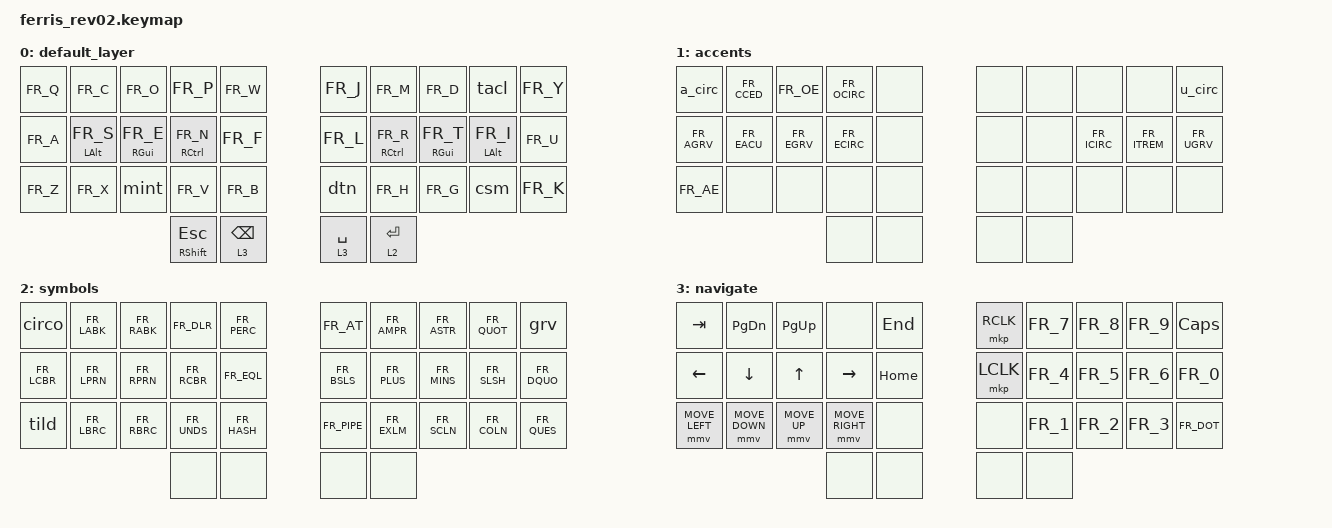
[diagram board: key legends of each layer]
#include <behaviors.dtsi>
#include <dt-bindings/zmk/keys.h>
#include <dt-bindings/zmk/pointing.h>
#include "french.h"

&lt {
    quick-tap-ms = <200>;
    flavor = "hold-preferred";
};

/ {
    behaviors {
        tacl: toaccentslayer {
            compatible = "zmk,behavior-mod-morph";
            #binding-cells = <0>;
            bindings = <&sl 1>, <&kp FR_EXLM>;
            mods = <(MOD_RSFT)>;
            keep-mods = <(MOD_RCTL|MOD_RALT|MOD_RGUI)>;
        };
        mint: minusinterrogation {
            compatible = "zmk,behavior-mod-morph";
            #binding-cells = <0>;
            bindings = <&kp FR_MINS>, <&kp FR_QUES>;
            mods = <(MOD_RSFT)>;
            keep-mods = <(MOD_RCTL|MOD_RALT|MOD_RGUI)>;
        };
        dtn: dotcoln {
            compatible = "zmk,behavior-mod-morph";
            #binding-cells = <0>;
            bindings = <&kp FR_DOT>, <&kp FR_COLN>;
            mods = <(MOD_RSFT)>;
            keep-mods = <(MOD_RCTL|MOD_RALT|MOD_RGUI)>;
        };
        csm: commasemicolon {
            compatible = "zmk,behavior-mod-morph";
            #binding-cells = <0>;
            bindings = <&kp FR_COMM>, <&kp FR_SCLN>;
            mods = <(MOD_RSFT)>;
            keep-mods = <(MOD_RCTL|MOD_RALT|MOD_RGUI)>;
        };

        hm: homerow_mods {
            compatible = "zmk,behavior-hold-tap";
            #binding-cells = <2>;

            tapping-term-ms = <220>;
            quick-tap-ms = <175>;
            require-prior-idle-ms = <150>;

            flavor = "tap-preferred";
            bindings = <&kp>, <&kp>;
        };
    };

    macros {
        a_circ: a_circ {
			compatible = "zmk,behavior-macro";
			#binding-cells = <0>;
			wait-ms = <0>;
			tap-ms = <0>;
			bindings= <&macro_tap &kp FR_CIRC &kp FR_A>;
		};
        u_circ: u_circ {
			compatible = "zmk,behavior-macro";
			#binding-cells = <0>;
			wait-ms = <0>;
			tap-ms = <0>;
			bindings = <&macro_tap &kp FR_CIRC &kp FR_U>;
		};
        tild: tilde {
			compatible = "zmk,behavior-macro";
			#binding-cells = <0>;
			wait-ms = <0>;
			tap-ms = <0>;
			bindings = <&macro_tap &kp FR_TILD &kp SPACE>;
		};
        circo: circonflexe {
			compatible = "zmk,behavior-macro";
			#binding-cells = <0>;
			wait-ms = <0>;
			tap-ms = <0>;
			bindings = <&macro_tap &kp FR_CIRC &kp SPACE>;
		};
        
        grv: grave {
        	compatible = "zmk,behavior-macro";
			#binding-cells = <0>;
			wait-ms = <0>;
			tap-ms = <0>;
			bindings = <&macro_tap &kp FR_GRV &kp SPACE>;
		};
    };

    

    keymap {    
        compatible = "zmk,keymap";
        default_layer {
            bindings = <
	        &kp FR_Q &kp FR_C      &kp FR_O      &kp FR_P       &kp FR_W            &kp FR_J &kp FR_M       &kp FR_D      &tacl         &kp FR_Y 
	        &kp FR_A &hm LALT FR_S &hm RGUI FR_E &hm RCTRL FR_N &kp FR_F            &kp FR_L &hm RCTRL FR_R &hm RGUI FR_T &hm LALT FR_I &kp FR_U
	        &kp FR_Z &kp FR_X      &mint         &kp FR_V       &kp FR_B            &dtn     &kp FR_H       &kp FR_G      &csm        &kp FR_K
                                           &mt RSHIFT ESCAPE   &lt 3 BACKSPACE    &lt 3 SPACE  &lt 2 ENTER
			>;
        };

        accents {

            bindings = <
            &a_circ      &kp FR_CCED &kp FR_OE    &kp FR_OCIRC    &none       &none &none &none        &none        &u_circ
            &kp FR_AGRV  &kp FR_EACU &kp FR_EGRV  &kp FR_ECIRC    &none       &none &none &kp FR_ICIRC &kp FR_ITREM &kp FR_UGRV
            &kp FR_AE    &none       &none        &none           &none       &none &none &none        &none        &none 
                                                  &none &none &none &none     
            >;
        };

        symbols {
            bindings = <
            &circo       &kp FR_LABK &kp FR_RABK &kp FR_DLR  &kp FR_PERC     &kp FR_AT   &kp FR_AMPR &kp FR_ASTR &kp FR_QUOT &grv
            &kp FR_LCBR  &kp FR_LPRN &kp FR_RPRN &kp FR_RCBR &kp FR_EQL      &kp FR_BSLS &kp FR_PLUS &kp FR_MINS &kp FR_SLSH &kp FR_DQUO
            &tild        &kp FR_LBRC &kp FR_RBRC &kp FR_UNDS &kp FR_HASH     &kp FR_PIPE &kp FR_EXLM &kp FR_SCLN &kp FR_COLN &kp FR_QUES 
                                                 &none &none                 &none &none 
            >;
        };

        navigate {
            bindings = <
&kp TAB        &kp PAGE_DOWN        &kp PAGE_UP  &none                  &kp END                 &mkp RCLK &kp FR_7  &kp FR_8  &kp FR_9  &kp CAPSLOCK
&kp LEFT       &kp DOWN          &kp UP       &kp RIGHT              &kp HOME                &mkp LCLK &kp FR_4  &kp FR_5  &kp FR_6  &kp FR_0
&mmv MOVE_LEFT &mmv MOVE_DOWN    &mmv MOVE_UP &mmv MOVE_RIGHT        &none                   &none     &kp FR_1  &kp FR_2  &kp FR_3  &kp FR_DOT
                                                                     &none    &none          &none       &none
            >;
        };
    };
};
